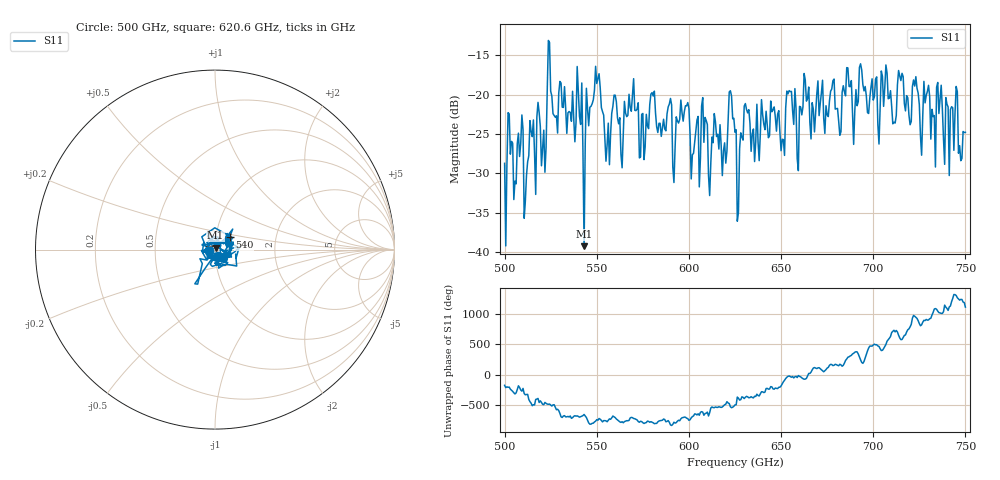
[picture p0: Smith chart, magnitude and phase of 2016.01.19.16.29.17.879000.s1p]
!Created with skrf (http://scikit-rf.org).
# GHz S RI R 50.0
!freq ReS11 ImS11
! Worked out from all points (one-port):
!   401 points, 500 GHz to 750 GHz, reference 50 ohm
!   lowest |S11| = -39.3 dB at 543.1 GHz (marker M1), VSWR 1.02, Z = 50.3 + j1.04 ohm
!   |S11| at or under -10 dB: start of sweep to end of sweep
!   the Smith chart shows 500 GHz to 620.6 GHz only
!   S11 on the Smith chart (normalised r, x): 500 GHz: 0.93, -0.01; 540 GHz: 1.16, +0.16; 620.6 GHz: 1.01, -0.09
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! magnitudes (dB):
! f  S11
! 500 GHz  -28.7
! 503.1 GHz  -27.6
! 511.9 GHz  -30.2
! 514.4 GHz  -24.7
! 521.2 GHz  -24.5
! 524.4 GHz  -13.3
! 527.5 GHz  -22.9
! 531.2 GHz  -21.6
! 540 GHz  -19.5
! 543.1 GHz  -39.3
! 550.6 GHz  -18.0
! 555.6 GHz  -26.4
! 559.4 GHz  -20.1
! 562.5 GHz  -22.9
! 568.8 GHz  -22.1
! 574.4 GHz  -22.5
! 580 GHz  -19.7
! 593.8 GHz  -23.3
! 620.6 GHz  -27.2
! 623.1 GHz  -20.2
! 625 GHz  -24.8
! 627.5 GHz  -26.8
! 631.2 GHz  -21.9
! 650.6 GHz  -25.7
! 656.2 GHz  -22.1
! 687.5 GHz  -19.0
! 718.8 GHz  -20.4
! 750 GHz  -24.8
